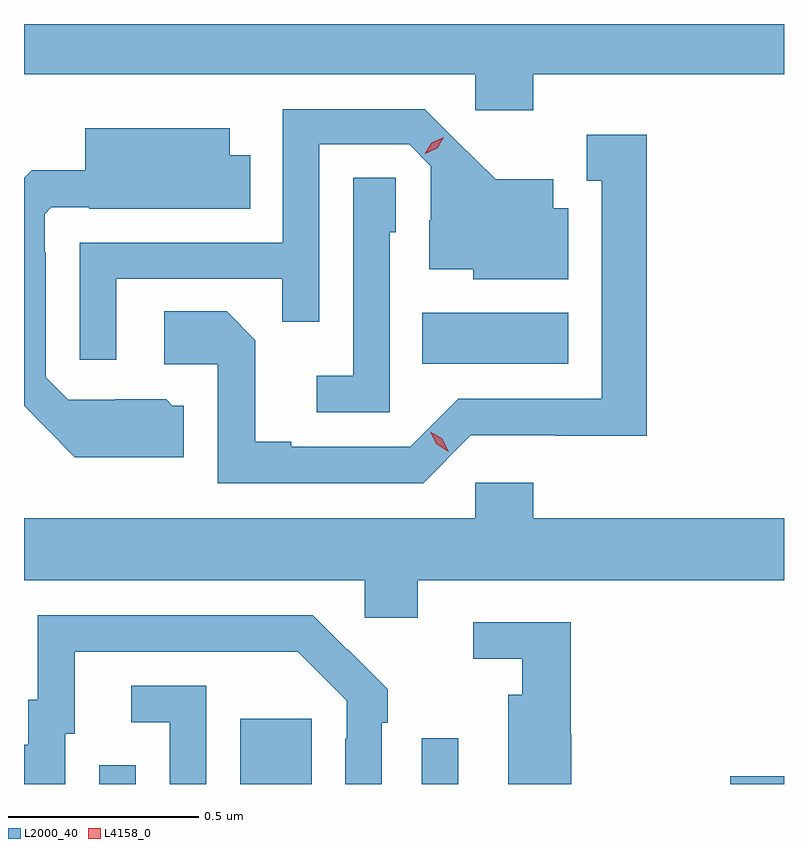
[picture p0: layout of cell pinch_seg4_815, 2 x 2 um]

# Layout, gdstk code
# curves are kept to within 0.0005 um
import gdstk
lib = gdstk.Library(unit=1e-6, precision=1e-09)
def R(c, l, rs):  # rectangles x0, y0, x1, y1
    for r in rs: c.add(gdstk.rectangle(r[:2], r[2:], *l))
def P(c, l, *ps):  # polygons
    for p in ps: c.add(gdstk.Polygon(p, *l))
L2000_40 = (2000, 40)
L4158_0 = (4158, 0)

pinch_seg4_815 = lib.new_cell('pinch_seg4_815')
R(pinch_seg4_815, L2000_40, [(797.856,821.592,797.952,821.641), (798.227,821.592,798.415,821.764), (798.705,821.592,798.801,821.713), (799.517,821.592,799.658,821.612), (798.706,822.698,799.09,822.832)])
P(pinch_seg4_815, L2000_40, [(798.998,823.46),(799.658,823.46),(799.658,823.592),(797.658,823.592),(797.658,823.46),(798.846,823.46),(798.846,823.365),(798.998,823.365)],
  [(797.901,822.921),(798.337,822.921),(798.337,822.808),(798.435,822.808),(798.435,823.275),(798.672,823.275),(798.729,823.218),(798.729,823.076),(798.725,823.076),(798.725,822.947),(798.84,822.947),(798.84,822.92),(799.09,822.92),(799.09,823.107),(799.051,823.107),(799.051,823.183),(798.899,823.183),(798.712,823.368),(798.339,823.368),(798.339,823.017),(797.805,823.017),(797.805,822.708),(797.901,822.708)],
  [(798.079,822.588),(798.048,822.588),(798.032,822.604),(797.898,822.604),(797.898,822.603),(797.775,822.603),(797.715,822.663),(797.715,822.992),(797.712,822.992),(797.712,823.092),(797.73,823.11),(797.83,823.11),(797.83,823.106),(798.254,823.106),(798.254,823.246),(798.199,823.246),(798.199,823.318),(797.819,823.318),(797.819,823.207),(797.678,823.207),(797.658,823.187),(797.658,822.587),(797.791,822.452),(798.079,822.452)],
  [(798.834,822.51),(799.056,822.51),(799.056,822.509),(799.297,822.509),(799.297,823.3),(799.139,823.3),(799.139,823.179),(799.178,823.179),(799.178,822.606),(798.801,822.606),(798.675,822.48),(798.361,822.48),(798.361,822.493),(798.267,822.493),(798.267,822.76),(798.191,822.836),(798.027,822.836),(798.027,822.696),(798.168,822.696),(798.168,822.384),(798.708,822.384)],
  [(798.621,823.044),(798.636,823.044),(798.636,823.187),(798.525,823.187),(798.525,822.667),(798.429,822.667),(798.429,822.57),(798.621,822.57)],
  [(798.694,822.128),(799.658,822.128),(799.658,822.292),(798.998,822.292),(798.998,822.385),(798.846,822.385),(798.846,822.292),(797.658,822.292),(797.658,822.128),(798.555,822.128),(798.555,822.03),(798.694,822.03)],
  [(797.767,821.724),(797.791,821.724),(797.791,821.94),(798.379,821.94),(798.507,821.811),(798.507,821.711),(798.504,821.711),(798.504,821.592),(798.6,821.592),(798.6,821.753),(798.615,821.753),(798.615,821.841),(798.51,821.946),(798.509,821.945),(798.418,822.036),(797.694,822.036),(797.694,821.814),(797.669,821.814),(797.669,821.695),(797.658,821.695),(797.658,821.592),(797.767,821.592)],
  [(799.098,821.723),(799.097,821.723),(799.097,822.018),(798.84,822.018),(798.84,821.922),(798.969,821.922),(798.969,821.827),(798.932,821.827),(798.932,821.592),(799.098,821.592)],
  [(798.138,821.85),(797.94,821.85),(797.94,821.754),(798.042,821.754),(798.042,821.592),(798.138,821.592)])
P(pinch_seg4_815, L4158_0, [(798.713,823.25),(798.713,823.25),(798.731,823.279),(798.762,823.294),(798.762,823.294),(798.762,823.294),(798.745,823.265),(798.714,823.25)],
  [(798.776,822.467),(798.744,822.486),(798.727,822.519),(798.727,822.519),(798.727,822.519),(798.759,822.5),(798.776,822.467),(798.776,822.467)])

lib.write_gds('pinch_seg4_815.gds')
